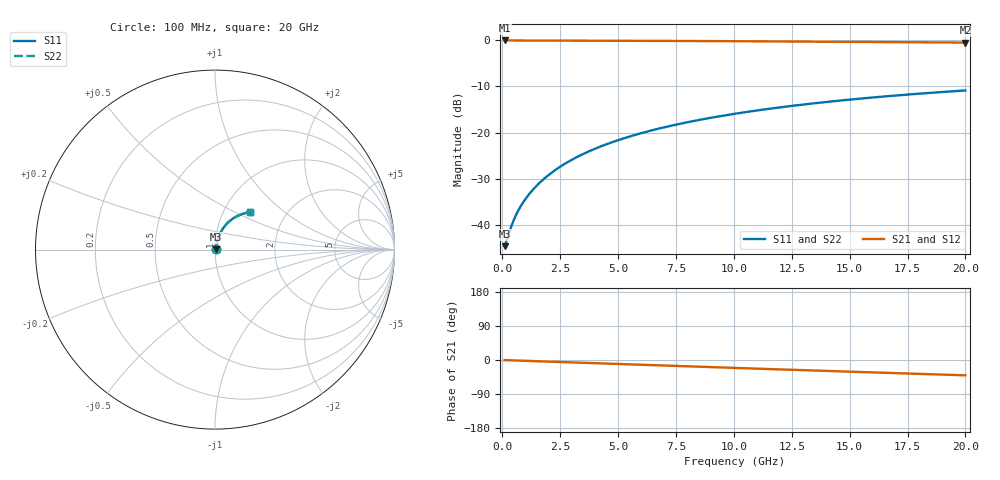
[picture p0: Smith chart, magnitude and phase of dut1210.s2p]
! Touchstone file exported from HFSS 2026.1.0
!  File:  C:/ffzhzh/LocalFiles/Ansys_Project_Files/temp_train_BSMRDL_1210_1783176639_18472.aedt
!  Generated:  10:51:48 PM Jul  4, 2026
!  Design:  BSMRDL
!  Project:  temp_train_BSMRDL_1210_1783176639_18472
! Variables:
!  h_bsmrdl = 2.28um
!  h_ox = 20um
!  h_rdl = 5um
!  h_sub = 80um
!  h_tmrdl = 5um
!  h_tsv = 80um
!  h_via = 3um
!  l_bsmrdl = 645.28um
!  l_sub = 1045.28um
!  l_tmrdl = 200um
!  m_sub = 200um
!  pitch = 31.18um
!  r_tsv = 6um
!  s_tmrdl = 10um
!  w_bsmrdl = 18.87um
!  w_sub = 500um
!  w_tmrdl = 12um
!  x_tsv_center1 = 206um
!  x_tsv_center2 = 870.15um
!  x_tsv_center3 = 1082.15um
!  x_tsv_center4 = 1746.3um
!  x_tsv_center5 = 1958.3um
!  x_tsv_center6 = 2622.45um
# GHz S MA R 50.000000
! Terminal data exported
! Port[1] = BSM_RDL1_1_T1
! Port[2] = BSM_RDL1_1_T2
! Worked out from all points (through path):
!   200 points, 100 MHz to 20 GHz, reference 50 ohm
!   highest |S21| = -0.05 dB at 100 MHz (marker M1); lowest = -0.5 dB at 20 GHz (marker M2)
!   group delay of S21, straight-line fit = 5.62 ps
!   lowest |S11| = -44.6 dB at 100 MHz (marker M3), VSWR 1.01, Z = 50.6 + j0.201 ohm
!   |S11| at or under -10 dB: start of sweep to end of sweep
!   |S22| runs from -44.6 to -10.9 dB; largest |S21 - S12| = 2.7e-15
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0.1  0.005903 19.7  0.9944 -0.2  0.9944 -0.2  0.005903 19.7
! Gamma 0 0 0 0
! Port Impedance 50 0 50 0
0.4  0.00984 50.7  0.9939 -0.9  0.9939 -0.9  0.00984 50.7
0.5  0.0114 55.0  0.9936 -1.1  0.9936 -1.1  0.0114 55.0
0.6  0.01296 58.3  0.9934 -1.3  0.9934 -1.3  0.01296 58.3
0.7  0.01451 60.7  0.9932 -1.5  0.9932 -1.5  0.01451 60.7
0.9  0.01759 64.4  0.9928 -2.0  0.9928 -2.0  0.01759 64.4
1.2  0.02222 68.0  0.9924 -2.6  0.9924 -2.6  0.02222 68.0
1.4  0.02533 69.7  0.9922 -3.0  0.9922 -3.0  0.02533 69.7
1.7  0.03004 71.5  0.9919 -3.6  0.9919 -3.6  0.03004 71.6
2.2  0.03797 73.3  0.9914 -4.7  0.9914 -4.7  0.03797 73.3
2.8  0.04757 74.3  0.9908 -5.9  0.9908 -5.9  0.04757 74.3
3.5  0.05882 74.5  0.99 -7.4  0.99 -7.4  0.05882 74.5
4.2  0.07006 74.2  0.9891 -8.9  0.9891 -8.9  0.07006 74.2
5  0.08283 73.4  0.9878 -10.5  0.9878 -10.5  0.08283 73.4
5.9  0.09708 72.2  0.9862 -12.4  0.9862 -12.4  0.09708 72.2
6.8  0.1111 70.8  0.9844 -14.3  0.9844 -14.3  0.1111 70.9
8.3  0.1341 68.3  0.9809 -17.4  0.9809 -17.4  0.1341 68.3
10.1  0.1608 65.1  0.9761 -21.1  0.9761 -21.1  0.1608 65.1
11.7  0.1836 62.1  0.9714 -24.3  0.9714 -24.3  0.1836 62.1
13.4  0.2068 58.9  0.966 -27.7  0.966 -27.7  0.2068 58.9
16.7  0.2487 52.7  0.9548 -34.1  0.9548 -34.1  0.2487 52.8
20  0.2861 46.7  0.9433 -40.4  0.9433 -40.4  0.2862 46.7
